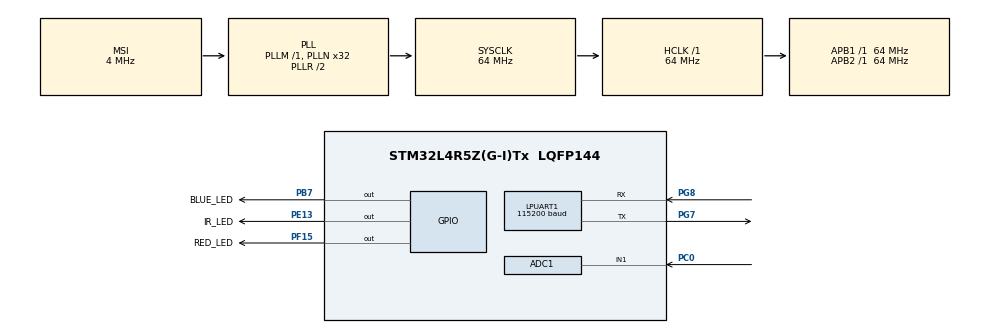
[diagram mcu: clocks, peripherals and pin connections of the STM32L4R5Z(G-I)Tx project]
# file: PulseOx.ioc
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ADC1.Channel-0\#ChannelRegularConversion=ADC_CHANNEL_1
ADC1.NbrOfConversionFlag=1
ADC1.OffsetNumber-0\#ChannelRegularConversion=ADC_OFFSET_NONE
ADC1.Rank-0\#ChannelRegularConversion=1
ADC1.SamplingTime-0\#ChannelRegularConversion=ADC_SAMPLETIME_2CYCLES_5
ADC1.master=1
LPUART1.BaudRate=115200
LPUART1.WordLength=UART_WORDLENGTH_8B
Mcu.Family=STM32L4
Mcu.Name=STM32L4R5Z(G-I)Tx
Mcu.Package=LQFP144
NVIC.PriorityGroup=NVIC_PRIORITYGROUP_4
NVIC.TIM6_DAC_IRQn=true\:0\:0\:false\:false\:true\:true\:true\:true
PA13\ (JTMS/SWDIO).Mode=Serial_Wire
PA13\ (JTMS/SWDIO).Signal=SYS_JTMS-SWDIO
PA14\ (JTCK/SWCLK).Mode=Serial_Wire
PA14\ (JTCK/SWCLK).Signal=SYS_JTCK-SWCLK
PB7.GPIO_Label=BLUE_LED
PB7.Signal=GPIO_Output
PC0.Signal=ADCx_IN1
PE13.GPIO_Label=IR_LED
PE13.Signal=GPIO_Output
PF15.GPIO_Label=RED_LED
PF15.Signal=GPIO_Output
PG7.Mode=Asynchronous
PG7.Signal=LPUART1_TX
PG8.Mode=Asynchronous
PG8.Signal=LPUART1_RX
ProjectManager.HeapSize=0x200
ProjectManager.StackSize=0x400
ProjectManager.TargetToolchain=STM32CubeIDE
RCC.ADCFreq_Value=32000000
RCC.AHBFreq_Value=64000000
RCC.APB1Freq_Value=64000000
RCC.APB1TimFreq_Value=64000000
RCC.APB2Freq_Value=64000000
RCC.APB2TimFreq_Value=64000000
RCC.CortexFreq_Value=64000000
RCC.HCLKFreq_Value=64000000
RCC.HSE_VALUE=8000000
RCC.HSI48_VALUE=48000000
RCC.HSI_VALUE=16000000
RCC.LSE_VALUE=32768
RCC.MSI_VALUE=4000000
RCC.PLLN=32
RCC.PLLSAI1N=16
RCC.SYSCLKFreq_VALUE=64000000
RCC.SYSCLKSource=RCC_SYSCLKSOURCE_PLLCLK
RCC.USBFreq_Value=32000000
RCC.VCOOutputFreq_Value=128000000
SH.ADCx_IN1.0=ADC1_IN1,IN1-Single-Ended
TIM6.Period=1
TIM6.Prescaler=64000-1
VP_TIM6_VS_ClockSourceINT.Mode=Enable_Timer
board=custom

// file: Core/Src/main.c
/* USER CODE BEGIN Header */
/**
  ******************************************************************************
  * @file           : main.c
  * @brief          : Main program body
  ******************************************************************************
  * @attention
  *
  * Copyright (c) 2023 STMicroelectronics.
  * All rights reserved.
  *
  * This software is licensed under terms that can be found in the LICENSE file
  * in the root directory of this software component.
  * If no LICENSE file comes with this software, it is provided AS-IS.
  *
  ******************************************************************************
  */
/* USER CODE END Header */
#include "main.h"

ADC_HandleTypeDef hadc1;

UART_HandleTypeDef hlpuart1;

TIM_HandleTypeDef htim6;

/* USER CODE BEGIN PV */

uint32_t ledRED_4 = 0;
uint32_t ledRED_3 = 0;
uint32_t ledRED_2 = 0;
uint32_t ledRED_1 = 0;
uint32_t ledRED_0 = 0;

uint32_t maxLedFound = 0;

uint32_t maxRED=10;
uint32_t maxIR=22;
uint32_t minRED=3;
uint32_t minIR=4;

uint32_t millisCounter = 0;
uint32_t millisAvergeCount = 20;
uint32_t averageRed;
uint32_t averageIR;
uint32_t n;

uint32_t averageLight;

float so2 = 0;

float averageTest;

float R=0;
float R_array[10];

float R_RED;
float R_IR;
float R_sum;

uint8_t flag=0;
uint8_t count=0;
ADC_ChannelConfTypeDef sConfig = {0};

int ADC_Read();

/* USER CODE END PV */

void SystemClock_Config(void);
static void MX_GPIO_Init(void);
static void MX_ADC1_Init(void);
static void MX_TIM6_Init(void);
static void MX_LPUART1_UART_Init(void);

int main(void)
{

  /* MCU Configuration--------------------------------------------------------*/

  /* Reset of all peripherals, Initializes the Flash interface and the Systick. */
  HAL_Init();

  /* Configure the system clock */
  SystemClock_Config();

  /* Initialize all configured peripherals */
  MX_GPIO_Init();
  MX_ADC1_Init();
  MX_TIM6_Init();
  MX_LPUART1_UART_Init();
  /* USER CODE BEGIN 2 */
  HAL_TIM_Base_Start_IT(&htim6);

  /* USER CODE END 2 */

  /* Infinite loop */
  while (1)
  {

    /* USER CODE BEGIN 3 */

	  //Turn off the RED LED
	  HAL_GPIO_WritePin(IR_LED_GPIO_Port, IR_LED_Pin, GPIO_PIN_RESET);
	  //Small Delay
	  HAL_Delay(10);
	  //Turn on the IR LED
	  HAL_GPIO_WritePin(RED_LED_GPIO_Port, RED_LED_Pin, GPIO_PIN_SET);
	  //Save old values of the IR LED
	  ledRED_2=ledRED_1;
	  ledRED_1=ledRED_0;
	  //**************** Reading ADC Value of IR LED ***********************************
	  //Reading light value is done in a way where we measure sample the value with adc in a defined time slot (millisAverageCount)

	  //Set millis counter to 0 and turn on the timer
	  millisCounter=0;
	  HAL_TIM_Base_Start_IT(&htim6);
	  //Make a reading every o.5 ms for millisAverageCount od millis seoconds. Usually for 20ms
	  do{
		averageRed += ADC_Read();
		HAL_Delay(0.5);
		n++;
	  }
	  while(millisCounter <= millisAvergeCount);

	  //We stop the timer
	  HAL_TIM_Base_Stop_IT(&htim6);
	  //Calculate the average value
	  ledRED_0 = averageRed/n - averageLight;
	  averageRed = 0;
	  n = 0;
	  //**********************************************************************************

	  //**************** Check if we got a new maximum in the past 3 readings ***********************************
	  HAL_GPIO_WritePin(RED_LED_GPIO_Port, RED_LED_Pin, GPIO_PIN_RESET);
	  if(ledRED_2<ledRED_1 && ledRED_1> ledRED_0)
	  {
		  //Software check so new maximum is not lower that the current minimum
		  if(ledRED_1>minRED) maxRED=ledRED_1;

		  //We turn off the IR LED
		  HAL_GPIO_WritePin(RED_LED_GPIO_Port, RED_LED_Pin, GPIO_PIN_RESET);
		  HAL_Delay(1);
		  //TUrn on the RED LED
		  HAL_GPIO_WritePin(IR_LED_GPIO_Port, IR_LED_Pin, GPIO_PIN_SET);

		  //Do the same avergae reading of the adc value in a "millisAverageCount" interval. (probably measure for 20ms)
		  millisCounter=0;
		  HAL_TIM_Base_Start_IT(&htim6);
		  do{
			  averageIR += ADC_Read();
			  HAL_Delay(0.5);
			  n++;
		 }while(millisCounter <= millisAvergeCount);

		 HAL_TIM_Base_Stop_IT(&htim6);
		 HAL_Delay(1);
		 //CHeck that the new maximum is not lower than the current minimum
		 if(averageIR/n > minIR) maxIR = averageIR/n;

		 //Reset all the values
		 averageIR=0;
		 n = 0;
		 maxLedFound=1;
		 //Turn off the LED
		 HAL_GPIO_WritePin(IR_LED_GPIO_Port, IR_LED_Pin, GPIO_PIN_RESET);
	  	 }

	  //**************** Check if we got a new minimum in the past 3 readings ***********************************
	  if(ledRED_2>ledRED_1 && ledRED_1<ledRED_0 && maxLedFound)
	  	{
		  //Software check so new minimum is not higher that the current maximum
		  if(ledRED_1<maxRED) minRED = ledRED_1;

		  //
		  HAL_GPIO_WritePin(RED_LED_GPIO_Port, RED_LED_Pin, GPIO_PIN_RESET);
		  HAL_Delay(1);
		  HAL_GPIO_WritePin(IR_LED_GPIO_Port, IR_LED_Pin, GPIO_PIN_SET);

		  //ADC Reading in the same principle as above
		  millisCounter=0;
		  HAL_TIM_Base_Start_IT(&htim6);
		  do{
			  averageIR += ADC_Read();
			  HAL_Delay(0.5);
			  n++;
		  }while(millisCounter <= millisAvergeCount);

		  HAL_TIM_Base_Stop_IT(&htim6);
		  HAL_Delay(1);
		  if(averageIR/n < maxIR) minIR = averageIR/n;

		  averageIR=0;
		  n = 0;
		  maxLedFound=0;
	  	}

	    //----Calculate R values for both LEDs
	  	R_RED = ((float)maxRED-(float)minRED)/(float)minRED;
	  	R_IR= ((float)maxIR-(float)minIR)/(float)minIR;

	  	//CHeck if finger is inserted (everyting above 2300 means no finger)
	  	if(ledRED_0<2300) {

	  		//CHeck that the Ratio makes sense
	  		//If the value is bellow 0.5, means that the reading is okay so we calculate the
	  		// R
	  		// New R is added to the array of past (10) arrays
	  		if(R_IR / R_RED < 0.5) {
	  			R_array[count] =  R_IR / R_RED ;
				if(count >=9) count = 0;
				else count ++;
	  		}

	  		//We calculate the R value by averaging the last 10 measurements
	  		R_sum = 0;
			for(uint8_t loop = 0; loop < 9; loop++) {
				R_sum = R_sum + R_array[loop];

			}
			R = R_sum/10.0;

			//******************* SO2 Calculation ****************************
			so2 = -10 * R + 100;
			//****************************************************************

			//**** We send the values via LPUART to the PC **************************
			uint8_t msg[16]="HEllo";
			sprintf(msg,"SO2: %d \n\r",(int)so2);
			HAL_UART_Transmit(&hlpuart1, msg, strlen(msg), 100);
			//*******************************************************************
	  	} else {
	  		//If there is no finger we display "no finger" text
	  		uint8_t msg[16]="No finger \n\r";
			HAL_UART_Transmit(&hlpuart1, msg, strlen(msg), 100);
	  	}

  }
  /* USER CODE END 3 */
}

void SystemClock_Config(void)
{
  RCC_OscInitTypeDef RCC_OscInitStruct = {0};
  RCC_ClkInitTypeDef RCC_ClkInitStruct = {0};

  /** Configure the main internal regulator output voltage
  */
  if (HAL_PWREx_ControlVoltageScaling(PWR_REGULATOR_VOLTAGE_SCALE1) != HAL_OK)
  {
    Error_Handler();
  }

  /** Initializes the RCC Oscillators according to the specified parameters
  * in the RCC_OscInitTypeDef structure.
  */
  RCC_OscInitStruct.OscillatorType = RCC_OSCILLATORTYPE_MSI;
  RCC_OscInitStruct.MSIState = RCC_MSI_ON;
  RCC_OscInitStruct.MSICalibrationValue = 0;
  RCC_OscInitStruct.MSIClockRange = RCC_MSIRANGE_6;
  RCC_OscInitStruct.PLL.PLLState = RCC_PLL_ON;
  RCC_OscInitStruct.PLL.PLLSource = RCC_PLLSOURCE_MSI;
  RCC_OscInitStruct.PLL.PLLM = 1;
  RCC_OscInitStruct.PLL.PLLN = 32;
  RCC_OscInitStruct.PLL.PLLP = RCC_PLLP_DIV2;
  RCC_OscInitStruct.PLL.PLLQ = RCC_PLLQ_DIV2;
  RCC_OscInitStruct.PLL.PLLR = RCC_PLLR_DIV2;
  if (HAL_RCC_OscConfig(&RCC_OscInitStruct) != HAL_OK)
  {
    Error_Handler();
  }

  /** Initializes the CPU, AHB and APB buses clocks
  */
  RCC_ClkInitStruct.ClockType = RCC_CLOCKTYPE_HCLK|RCC_CLOCKTYPE_SYSCLK
                              |RCC_CLOCKTYPE_PCLK1|RCC_CLOCKTYPE_PCLK2;
  RCC_ClkInitStruct.SYSCLKSource = RCC_SYSCLKSOURCE_PLLCLK;
  RCC_ClkInitStruct.AHBCLKDivider = RCC_SYSCLK_DIV1;
  RCC_ClkInitStruct.APB1CLKDivider = RCC_HCLK_DIV1;
  RCC_ClkInitStruct.APB2CLKDivider = RCC_HCLK_DIV1;

  if (HAL_RCC_ClockConfig(&RCC_ClkInitStruct, FLASH_LATENCY_3) != HAL_OK)
  {
    Error_Handler();
  }
}

static void MX_ADC1_Init(void)
{

  ADC_ChannelConfTypeDef sConfig = {0};

  /** Common config
  */
  hadc1.Instance = ADC1;
  hadc1.Init.ClockPrescaler = ADC_CLOCK_ASYNC_DIV1;
  hadc1.Init.Resolution = ADC_RESOLUTION_12B;
  hadc1.Init.DataAlign = ADC_DATAALIGN_RIGHT;
  hadc1.Init.ScanConvMode = ADC_SCAN_DISABLE;
  hadc1.Init.EOCSelection = ADC_EOC_SINGLE_CONV;
  hadc1.Init.LowPowerAutoWait = DISABLE;
  hadc1.Init.ContinuousConvMode = DISABLE;
  hadc1.Init.NbrOfConversion = 1;
  hadc1.Init.DiscontinuousConvMode = DISABLE;
  hadc1.Init.ExternalTrigConv = ADC_SOFTWARE_START;
  hadc1.Init.ExternalTrigConvEdge = ADC_EXTERNALTRIGCONVEDGE_NONE;
  hadc1.Init.DMAContinuousRequests = DISABLE;
  hadc1.Init.Overrun = ADC_OVR_DATA_PRESERVED;
  hadc1.Init.OversamplingMode = DISABLE;
  if (HAL_ADC_Init(&hadc1) != HAL_OK)
  {
    Error_Handler();
  }

  /** Configure Regular Channel
  */
  sConfig.Channel = ADC_CHANNEL_1;
  sConfig.Rank = ADC_REGULAR_RANK_1;
  sConfig.SamplingTime = ADC_SAMPLETIME_2CYCLES_5;
  sConfig.SingleDiff = ADC_SINGLE_ENDED;
  sConfig.OffsetNumber = ADC_OFFSET_NONE;
  sConfig.Offset = 0;
  if (HAL_ADC_ConfigChannel(&hadc1, &sConfig) != HAL_OK)
  {
    Error_Handler();
  }

}

static void MX_LPUART1_UART_Init(void)
{

  hlpuart1.Instance = LPUART1;
  hlpuart1.Init.BaudRate = 115200;
  hlpuart1.Init.WordLength = UART_WORDLENGTH_8B;
  hlpuart1.Init.StopBits = UART_STOPBITS_1;
  hlpuart1.Init.Parity = UART_PARITY_NONE;
  hlpuart1.Init.Mode = UART_MODE_TX_RX;
  hlpuart1.Init.HwFlowCtl = UART_HWCONTROL_NONE;
  hlpuart1.Init.OneBitSampling = UART_ONE_BIT_SAMPLE_DISABLE;
  hlpuart1.Init.ClockPrescaler = UART_PRESCALER_DIV1;
  hlpuart1.AdvancedInit.AdvFeatureInit = UART_ADVFEATURE_NO_INIT;
  hlpuart1.FifoMode = UART_FIFOMODE_DISABLE;
  if (HAL_UART_Init(&hlpuart1) != HAL_OK)
  {
    Error_Handler();
  }
  if (HAL_UARTEx_SetTxFifoThreshold(&hlpuart1, UART_TXFIFO_THRESHOLD_1_8) != HAL_OK)
  {
    Error_Handler();
  }
  if (HAL_UARTEx_SetRxFifoThreshold(&hlpuart1, UART_RXFIFO_THRESHOLD_1_8) != HAL_OK)
  {
    Error_Handler();
  }
  if (HAL_UARTEx_DisableFifoMode(&hlpuart1) != HAL_OK)
  {
    Error_Handler();
  }

}

static void MX_TIM6_Init(void)
{

  TIM_MasterConfigTypeDef sMasterConfig = {0};

  htim6.Instance = TIM6;
  htim6.Init.Prescaler = 64000-1;
  htim6.Init.CounterMode = TIM_COUNTERMODE_UP;
  htim6.Init.Period = 1;
  htim6.Init.AutoReloadPreload = TIM_AUTORELOAD_PRELOAD_DISABLE;
  if (HAL_TIM_Base_Init(&htim6) != HAL_OK)
  {
    Error_Handler();
  }
  sMasterConfig.MasterOutputTrigger = TIM_TRGO_RESET;
  sMasterConfig.MasterSlaveMode = TIM_MASTERSLAVEMODE_DISABLE;
  if (HAL_TIMEx_MasterConfigSynchronization(&htim6, &sMasterConfig) != HAL_OK)
  {
    Error_Handler();
  }

}

static void MX_GPIO_Init(void)
{
  GPIO_InitTypeDef GPIO_InitStruct = {0};

  /* GPIO Ports Clock Enable */
  __HAL_RCC_GPIOC_CLK_ENABLE();
  __HAL_RCC_GPIOF_CLK_ENABLE();
  __HAL_RCC_GPIOE_CLK_ENABLE();
  __HAL_RCC_GPIOG_CLK_ENABLE();
  HAL_PWREx_EnableVddIO2();
  __HAL_RCC_GPIOA_CLK_ENABLE();
  __HAL_RCC_GPIOB_CLK_ENABLE();

  /*Configure GPIO pin Output Level */
  HAL_GPIO_WritePin(RED_LED_GPIO_Port, RED_LED_Pin, GPIO_PIN_RESET);

  /*Configure GPIO pin Output Level */
  HAL_GPIO_WritePin(IR_LED_GPIO_Port, IR_LED_Pin, GPIO_PIN_RESET);

  /*Configure GPIO pin Output Level */
  HAL_GPIO_WritePin(BLUE_LED_GPIO_Port, BLUE_LED_Pin, GPIO_PIN_RESET);

  /*Configure GPIO pin : RED_LED_Pin */
  GPIO_InitStruct.Pin = RED_LED_Pin;
  GPIO_InitStruct.Mode = GPIO_MODE_OUTPUT_PP;
  GPIO_InitStruct.Pull = GPIO_NOPULL;
  GPIO_InitStruct.Speed = GPIO_SPEED_FREQ_LOW;
  HAL_GPIO_Init(RED_LED_GPIO_Port, &GPIO_InitStruct);

  /*Configure GPIO pin : IR_LED_Pin */
  GPIO_InitStruct.Pin = IR_LED_Pin;
  GPIO_InitStruct.Mode = GPIO_MODE_OUTPUT_PP;
  GPIO_InitStruct.Pull = GPIO_NOPULL;
  GPIO_InitStruct.Speed = GPIO_SPEED_FREQ_LOW;
  HAL_GPIO_Init(IR_LED_GPIO_Port, &GPIO_InitStruct);

  /*Configure GPIO pin : BLUE_LED_Pin */
  GPIO_InitStruct.Pin = BLUE_LED_Pin;
  GPIO_InitStruct.Mode = GPIO_MODE_OUTPUT_PP;
  GPIO_InitStruct.Pull = GPIO_NOPULL;
  GPIO_InitStruct.Speed = GPIO_SPEED_FREQ_LOW;
  HAL_GPIO_Init(BLUE_LED_GPIO_Port, &GPIO_InitStruct);

}

/* USER CODE BEGIN 4 */
/*
 * Timer 6 callback function
 * Every xx u seconds callback function gets called
 * ADC measures voltage on photodiode (first RED then IR)
 * And then R value is computed from max in min values of both diodes.
 * @htim takes timer argument (htim6)
 */
void HAL_TIM_PeriodElapsedCallback(TIM_HandleTypeDef* htim)
{
	millisCounter++;
	//HAL_GPIO_TogglePin(BLUE_LED_GPIO_Port, BLUE_LED_Pin);

	//R =  R_IR / R_RED;

	//averaged saturation at any heart beat
	//sumSaturation += instantSaturation;
	//numBeat++;

}

int ADC_Read(){
	uint32_t adcValue = 0;
	sConfig.Channel = ADC_CHANNEL_1;
	HAL_ADC_ConfigChannel(&hadc1, &sConfig);
	HAL_ADC_Start(&hadc1);
	if(HAL_ADC_PollForConversion(&hadc1,5)==HAL_OK){
		adcValue=HAL_ADC_GetValue(&hadc1);
	}
	return adcValue;
}

/* USER CODE END 4 */

void Error_Handler(void)
{
  __disable_irq();
  while (1)
  {
  }
}
